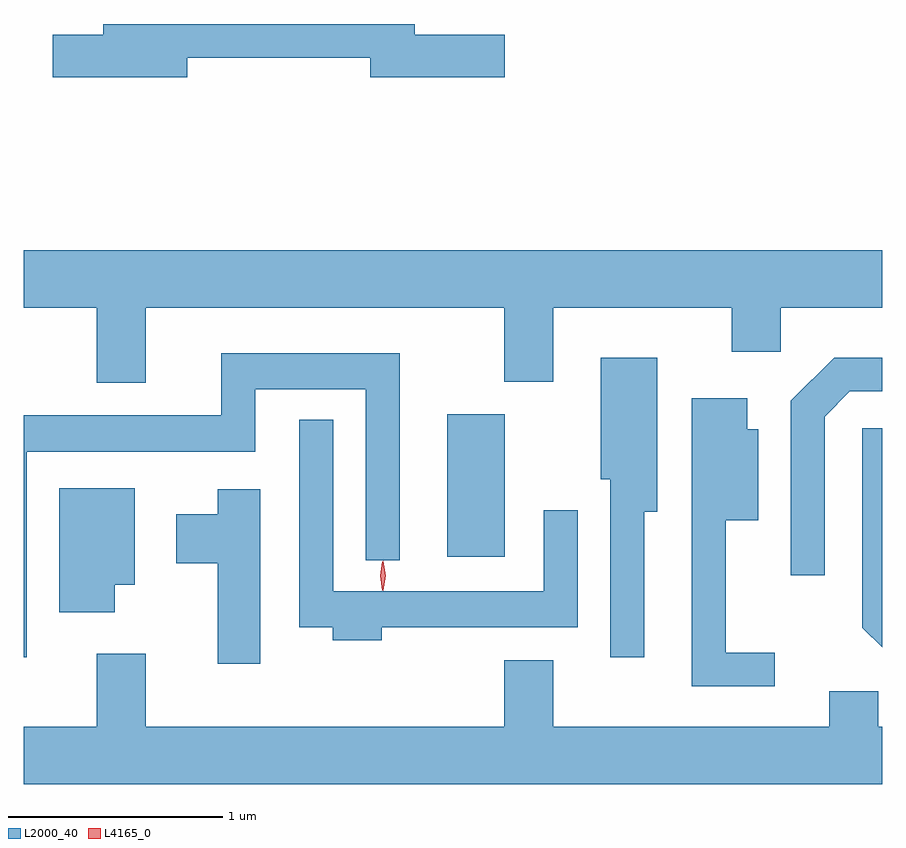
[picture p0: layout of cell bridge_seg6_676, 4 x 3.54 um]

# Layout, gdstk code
import gdstk
lib = gdstk.Library(unit=1e-6, precision=1e-09)
def R(c, l, rs):  # rectangles x0, y0, x1, y1
    for r in rs: c.add(gdstk.rectangle(r[:2], r[2:], *l))
def P(c, l, *ps):  # polygons
    for p in ps: c.add(gdstk.Polygon(p, *l))
L2000_40 = (2000, 40)
L4165_0 = (4165, 0)

bridge_seg6_676 = lib.new_cell('bridge_seg6_676')
R(bridge_seg6_676, L2000_40, [(403.216,1553.316,403.484,1553.979)])
P(bridge_seg6_676, L2000_40, [(402.004,1555.641),(402.856,1555.641),(402.856,1555.551),(403.484,1555.551),(403.484,1555.749),(403.064,1555.749),(403.064,1555.799),(401.611,1555.799),(401.611,1555.749),(401.376,1555.749),(401.376,1555.551),(402.004,1555.551)],
  [(401.809,1554.476),(403.481,1554.476),(403.481,1554.131),(403.709,1554.131),(403.709,1554.476),(404.541,1554.476),(404.541,1554.271),(404.769,1554.271),(404.769,1554.476),(405.242,1554.476),(405.242,1554.744),(401.242,1554.744),(401.242,1554.476),(401.581,1554.476),(401.581,1554.126),(401.809,1554.126)],
  [(401.254,1553.806),(402.319,1553.806),(402.319,1554.096),(402.836,1554.096),(402.836,1553.298),(402.994,1553.298),(402.994,1554.264),(402.161,1554.264),(402.161,1553.974),(401.242,1553.974),(401.242,1552.848),(401.254,1552.848)],
  [(404.974,1553.969),(405.092,1554.086),(405.242,1554.086),(405.242,1554.244),(405.019,1554.244),(404.816,1554.042),(404.816,1553.228),(404.974,1553.228)],
  [(404.134,1553.526),(404.194,1553.526),(404.194,1554.244),(403.931,1554.244),(403.931,1553.676),(403.976,1553.676),(403.976,1552.848),(404.134,1552.848)],
  [(404.743,1552.869),(404.514,1552.869),(404.514,1553.486),(404.664,1553.486),(404.664,1553.909),(404.614,1553.909),(404.614,1554.054),(404.356,1554.054),(404.356,1552.711),(404.743,1552.711)],
  [(402.909,1552.986),(403.824,1552.986),(403.824,1553.533),(403.666,1553.533),(403.666,1553.154),(402.684,1553.154),(402.684,1553.953),(402.526,1553.953),(402.526,1552.986),(402.681,1552.986),(402.681,1552.926),(402.909,1552.926)],
  [(405.242,1553.914),(405.151,1553.914),(405.151,1552.984),(405.242,1552.893)],
  [(401.664,1553.186),(401.759,1553.186),(401.759,1553.634),(401.406,1553.634),(401.406,1553.056),(401.664,1553.056)],
  [(402.344,1553.629),(402.146,1553.629),(402.146,1553.514),(401.951,1553.514),(401.951,1553.286),(402.146,1553.286),(402.146,1552.816),(402.344,1552.816)],
  [(405.242,1552.524),(405.224,1552.524),(405.224,1552.689),(404.996,1552.689),(404.996,1552.524),(403.709,1552.524),(403.709,1552.834),(403.481,1552.834),(403.481,1552.524),(401.809,1552.524),(401.809,1552.864),(401.581,1552.864),(401.581,1552.524),(401.242,1552.524),(401.242,1552.256),(405.242,1552.256)])
P(bridge_seg6_676, L4165_0, [(402.914,1553.159),(402.913,1553.16),(402.904,1553.226),(402.913,1553.292),(402.914,1553.293),(402.914,1553.292),(402.924,1553.226),(402.914,1553.16)],
  [(402.917,1553.157),(402.908,1553.226),(402.917,1553.296),(402.918,1553.296),(402.918,1553.296),(402.928,1553.226),(402.918,1553.157),(402.918,1553.157)])

lib.write_gds('bridge_seg6_676.gds')
